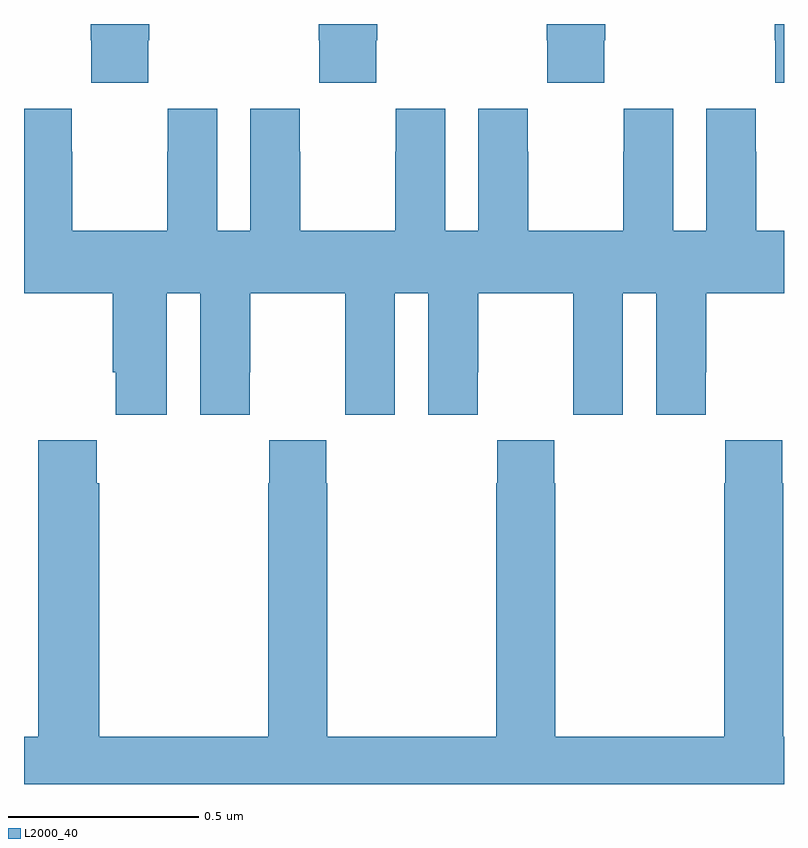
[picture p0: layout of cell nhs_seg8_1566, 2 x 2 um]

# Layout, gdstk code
import gdstk
lib = gdstk.Library(unit=1e-6, precision=1e-09)
def P(c, l, *ps):  # polygons
    for p in ps: c.add(gdstk.Polygon(p, *l))
L2000_40 = (2000, 40)

nhs_seg8_1566 = lib.new_cell('nhs_seg8_1566')
P(nhs_seg8_1566, L2000_40, [(132.927,1091.857),(132.93,1091.857),(132.93,1091.9),(132.775,1091.9),(132.775,1091.857),(132.777,1091.857),(132.777,1091.745),(132.927,1091.745)],
  [(133.527,1091.857),(133.53,1091.857),(133.53,1091.9),(133.375,1091.9),(133.375,1091.857),(133.377,1091.857),(133.377,1091.745),(133.527,1091.745)],
  [(134,1091.9),(133.975,1091.9),(133.975,1091.857),(133.977,1091.857),(133.977,1091.745),(134,1091.745)],
  [(132.327,1091.857),(132.33,1091.857),(132.33,1091.9),(132.175,1091.9),(132.175,1091.857),(132.177,1091.857),(132.177,1091.745),(132.327,1091.745)],
  [(132.376,1091.192),(132.464,1091.192),(132.464,1090.872),(132.594,1090.872),(132.594,1090.984),(132.595,1090.984),(132.595,1091.192),(132.845,1091.192),(132.845,1090.984),(132.846,1090.984),(132.846,1090.872),(132.976,1090.872),(132.976,1091.192),(133.064,1091.192),(133.064,1090.872),(133.194,1090.872),(133.194,1090.984),(133.195,1090.984),(133.195,1091.192),(133.445,1091.192),(133.445,1090.984),(133.446,1090.984),(133.446,1090.872),(133.576,1090.872),(133.576,1091.192),(133.664,1091.192),(133.664,1090.872),(133.794,1090.872),(133.794,1090.984),(133.795,1090.984),(133.795,1091.192),(134,1091.192),(134,1091.356),(133.927,1091.356),(133.927,1091.564),(133.926,1091.564),(133.926,1091.677),(133.796,1091.677),(133.796,1091.356),(133.708,1091.356),(133.708,1091.677),(133.578,1091.677),(133.578,1091.564),(133.577,1091.564),(133.577,1091.356),(133.327,1091.356),(133.327,1091.564),(133.326,1091.564),(133.326,1091.677),(133.196,1091.677),(133.196,1091.356),(133.108,1091.356),(133.108,1091.677),(132.978,1091.677),(132.978,1091.564),(132.977,1091.564),(132.977,1091.356),(132.727,1091.356),(132.727,1091.564),(132.726,1091.564),(132.726,1091.677),(132.596,1091.677),(132.596,1091.356),(132.508,1091.356),(132.508,1091.677),(132.378,1091.677),(132.378,1091.564),(132.377,1091.564),(132.377,1091.356),(132.127,1091.356),(132.127,1091.564),(132.126,1091.564),(132.126,1091.677),(132,1091.677),(132,1091.192),(132.233,1091.192),(132.233,1090.984),(132.242,1090.984),(132.242,1090.872),(132.376,1090.872)],
  [(134,1090.024),(133.998,1090.024),(133.998,1090.691),(133.995,1090.691),(133.995,1090.804),(133.845,1090.804),(133.845,1090.691),(133.843,1090.691),(133.843,1090.024),(133.398,1090.024),(133.398,1090.691),(133.395,1090.691),(133.395,1090.804),(133.245,1090.804),(133.245,1090.691),(133.243,1090.691),(133.243,1090.024),(132.798,1090.024),(132.798,1090.691),(132.795,1090.691),(132.795,1090.804),(132.645,1090.804),(132.645,1090.691),(132.643,1090.691),(132.643,1090.024),(132.198,1090.024),(132.198,1090.691),(132.191,1090.691),(132.191,1090.804),(132.038,1090.804),(132.038,1090.024),(132,1090.024),(132,1089.9),(134,1089.9)])

lib.write_gds('nhs_seg8_1566.gds')
